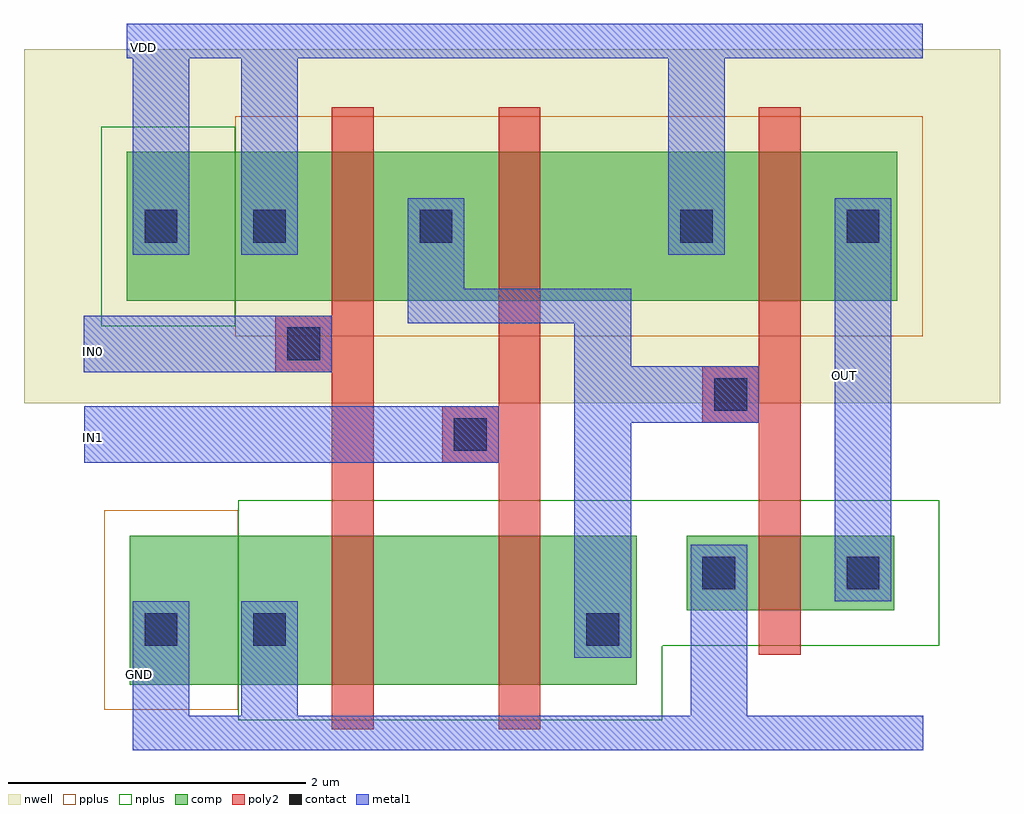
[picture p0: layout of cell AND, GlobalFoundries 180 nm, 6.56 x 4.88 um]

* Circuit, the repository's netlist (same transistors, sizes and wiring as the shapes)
* Extracted by KLayout with GF180MCU LVS runset on : 23/04/2026 01:03

.SUBCKT AND GND VDD OUT IN1 IN0
M$1 \$3 IN0 VDD VDD pfet_03v3 L=0.28U W=1U AS=0.65P AD=0.42P PS=3.3U PD=1.84U
M$2 VDD IN1 \$3 VDD pfet_03v3 L=0.28U W=1U AS=0.42P AD=0.735P PS=1.84U PD=2.47U
M$3 OUT \$3 VDD VDD pfet_03v3 L=0.28U W=1U AS=0.735P AD=0.65P PS=2.47U PD=3.3U
M$4 \$7 IN0 GND GND nfet_03v3 L=0.28U W=1U AS=0.63P AD=0.42P PS=3.26U PD=1.84U
M$5 \$3 IN1 \$7 GND nfet_03v3 L=0.28U W=1U AS=0.42P AD=0.65P PS=1.84U PD=3.3U
M$6 OUT \$3 GND GND nfet_03v3 L=0.28U W=0.5U AS=0.2425P AD=0.315P PS=1.97U
+ PD=2.26U
.ENDS AND

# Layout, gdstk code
import gdstk
lib = gdstk.Library(unit=1e-6, precision=5e-09)
def R(c, l, rs):  # rectangles x0, y0, x1, y1
    for r in rs: c.add(gdstk.rectangle(r[:2], r[2:], *l))
nwell = (21, 0)
comp = (22, 0)
poly2 = (30, 0)
pplus = (31, 0)
nplus = (32, 0)
contact = (33, 0)
metal1 = (34, 0)

and_ = lib.new_cell('AND')
R(and_, nwell, [(-4.4,0.945,2.16,3.325)])
R(and_, comp, [(-3.69,-0.945,-2.96,0.055), (-2.96,-0.945,-2.54,0.055), (-2.54,-0.945,-1.84,0.055), (-1.84,-0.945,-1.42,0.055), (-1.42,-0.945,-0.72,0.055), (-0.93,-0.945,-0.28,0.055), (0.055,-0.445,0.48,0.055), (0.48,-0.445,1.03,0.055), (1.03,-0.445,1.45,0.055), (-3.71,1.635,-2.98,2.635), (-2.98,1.635,-2.52,2.635), (-2.52,1.635,-1.86,2.635), (-1.86,1.635,-1.4,2.635), (-1.4,1.635,-0.74,2.635), (-0.74,1.635,-0.11,2.635), (-0.11,1.635,0.35,2.635), (0.35,1.635,1.01,2.635), (1.01,1.635,1.47,2.635)])
R(and_, poly2, [(-2.33,-1.245,-2.05,2.935), (-1.21,-1.245,-0.93,2.935), (0.54,-0.745,0.82,2.935), (-1.59,0.545,-1.21,0.925), (0.16,0.815,0.54,1.195), (-2.71,1.155,-2.33,1.535)])
R(and_, pplus, [(-3.86,-1.115,-2.96,0.225), (-2.98,1.395,1.64,2.875)])
R(and_, nplus, [(-2.96,-1.185,-0.11,0.295), (-0.11,-0.685,1.75,0.295), (-3.88,1.465,-2.98,2.805)])
R(and_, contact, [(-3.59,-0.685,-3.37,-0.465), (-2.86,-0.685,-2.64,-0.465), (-0.62,-0.685,-0.4,-0.465), (0.16,-0.305,0.38,-0.085), (1.13,-0.305,1.35,-0.085), (-1.51,0.625,-1.29,0.845), (0.24,0.895,0.46,1.115), (-2.63,1.235,-2.41,1.455), (-3.59,2.025,-3.37,2.245), (-2.86,2.025,-2.64,2.245), (-1.74,2.025,-1.52,2.245), (0.01,2.025,0.23,2.245), (1.13,2.025,1.35,2.245)])
R(and_, metal1, [(-3.67,-1.385,1.645,-1.155), (-3.67,-1.155,-3.29,-0.995), (-2.94,-1.155,-2.56,-0.995), (0.08,-1.155,0.46,-0.615), (-3.67,-0.995,-3.29,-0.765), (-2.94,-0.995,-2.56,-0.765), (-3.67,-0.765,-3.29,-0.385), (-2.94,-0.765,-2.56,-0.385), (-0.7,-0.765,-0.32,-0.385), (0.08,-0.615,0.46,-0.385), (-0.7,-0.385,-0.32,1.715), (0.08,-0.385,0.46,-0.005), (1.05,-0.385,1.43,-0.005), (1.05,-0.005,1.43,1.945), (-3.995,0.545,-1.59,0.925), (-1.59,0.545,-1.21,0.925), (-0.32,0.815,0.16,1.195), (0.16,0.815,0.54,1.195), (-4,1.155,-2.71,1.535), (-2.71,1.155,-2.33,1.535), (-1.82,1.485,-0.7,1.715), (-1.82,1.715,-1.44,1.945), (-3.67,1.945,-3.29,2.325), (-2.94,1.945,-2.56,2.325), (-1.82,1.945,-1.44,2.325), (-0.07,1.945,0.31,2.325), (1.05,1.945,1.43,2.325), (-3.67,2.325,-3.29,3.265), (-2.94,2.325,-2.56,3.265), (-0.07,2.325,0.31,3.265), (-3.71,3.265,1.64,3.495)])
and_.add(gdstk.Label('VDD', (-3.595,3.34), layer=34, texttype=10))
and_.add(gdstk.Label('IN0', (-3.935,1.295), layer=34, texttype=10))
and_.add(gdstk.Label('IN1', (-3.93,0.715), layer=34, texttype=10))
and_.add(gdstk.Label('GND', (-3.625,-0.88), layer=34, texttype=10))
and_.add(gdstk.Label('OUT', (1.115,1.135), layer=34, texttype=10))

lib.write_gds('AND.gds')
